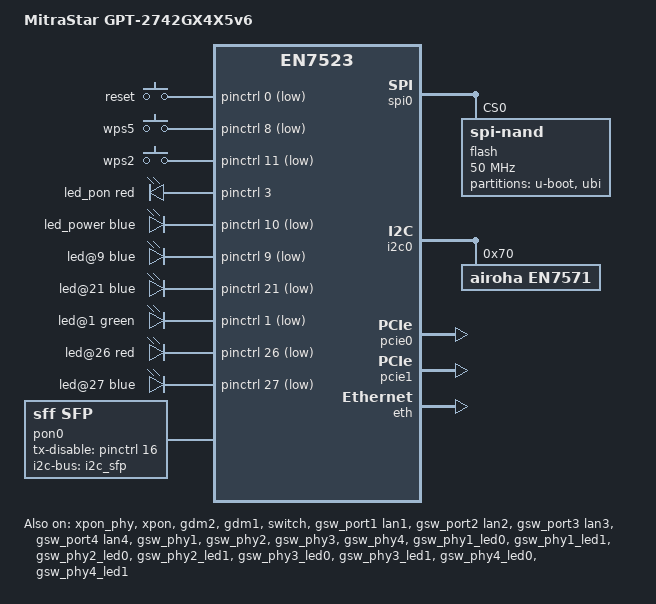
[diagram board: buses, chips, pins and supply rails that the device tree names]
/* SPDX-License-Identifier: GPL-2.0-or-later OR MIT */
/dts-v1/;

#include <dt-bindings/leds/common.h>
#include <dt-bindings/gpio/gpio.h>
#include <dt-bindings/input/input.h>
#include "en7523.dtsi"

/ {
	model = "MitraStar GPT-2742GX4X5v6";
	compatible = "mitrastar,gpt-2742gx4x5v6", "airoha,en7523";

	chosen {
		rootdisk = <&firmware>;
		bootargs = "console=ttyS0,115200 earlycon ubi.block=0,fit root=/dev/fit0 rootwait";
		stdout-path = "serial0:115200n8";
	};

	aliases {
		serial0 = &uart1;
		led-boot = &led_power;
		led-failsafe = &led_pon;
		led-upgrade = &led_pon;
		led-running = &led_power;
	};

	keys {
		compatible = "gpio-keys";

		reset {
			label = "reset";
			linux,code = <KEY_RESTART>;
			gpios = <&pinctrl 0 GPIO_ACTIVE_LOW>;
			debounce-interval = <60>;
		};

		wps5 {
			label = "wps5";
			linux,code = <KEY_WPS_BUTTON>;
			gpios = <&pinctrl 8 GPIO_ACTIVE_LOW>;
			debounce-interval = <60>;
		};

		wps2 {
			label = "wps2";
			linux,code = <KEY_WPS_BUTTON>;
			gpios = <&pinctrl 11 GPIO_ACTIVE_LOW>;
			debounce-interval = <60>;
		};
	};

	leds {
		compatible = "gpio-leds";

		// red:internet
		led_pon: led@3 {
			function = LED_FUNCTION_WAN_ONLINE;
			function-enumerator = <3>;
			color = <LED_COLOR_ID_RED>;
			gpios = <&pinctrl 3 GPIO_ACTIVE_HIGH>;
		};

		// blue:internet
		led_power: led@10 {
			function = LED_FUNCTION_WAN_ONLINE;
			function-enumerator = <10>;
			color = <LED_COLOR_ID_BLUE>;
			gpios = <&pinctrl 10 GPIO_ACTIVE_LOW>;
		};

		// blue:wlan-2g
		led@9 {
			function = LED_FUNCTION_WLAN_2GHZ;
			function-enumerator = <9>;
			color = <LED_COLOR_ID_BLUE>;
			gpios = <&pinctrl 9 GPIO_ACTIVE_LOW>;
		};

		// blue:wlan-5g
		led@21 {
			function = LED_FUNCTION_WLAN_5GHZ;
			function-enumerator = <21>;
			color = <LED_COLOR_ID_BLUE>;
			gpios = <&pinctrl 21 GPIO_ACTIVE_LOW>;
		};

		// green:fxs
		led@1 {
			function = LED_FUNCTION_ACTIVITY;
			function-enumerator = <1>;
			color = <LED_COLOR_ID_GREEN>;
			gpios = <&pinctrl 1 GPIO_ACTIVE_LOW>;
		};

		// red:fxs
		led@26 {
			function = LED_FUNCTION_ACTIVITY;
			function-enumerator = <26>;
			color = <LED_COLOR_ID_RED>;
			gpios = <&pinctrl 26 GPIO_ACTIVE_LOW>;
		};

		// blue:fxs
		led@27 {
			function = LED_FUNCTION_ACTIVITY;
			function-enumerator = <27>;
			color = <LED_COLOR_ID_BLUE>;
			gpios = <&pinctrl 27 GPIO_ACTIVE_LOW>;
		};
	};


	pon0: pon0 {
		compatible = "sff,sfp";
		i2c-bus = <&i2c_sfp>;

		tx-disable-gpios = <&pinctrl 16 GPIO_ACTIVE_HIGH>;
	};
};

/*
Old maping NAND
0x000000000000-0x000000080000 : "bootloader"
0x000000080000-0x0000000c0000 : "romfile"
0x0000000c0000-0x000005ac0000 : "tclinux"
0x000005ac0000-0x00000b4c0000 : "tclinux_slave"
0x00000b4c0000-0x00000b500000 : "second_romfile"
0x00000b500000-0x00000c200000 : "data"
0x00000c200000-0x00000eb80000 : "app"
0x00000eb80000-0x00000edc0000 : "reservearea_backup" => art (0x240000)
0x00000edc0000-0x00000f000000 : "reservearea"

New Maping:
	0x00000000-0x00100000 : BL1 + FIP (BL2 + BL31 + BL33)
	0x00100000-           : UBI (uboot env{1,2} + ART (misc part) + fit (firmware))
*/
&spi0 {
	flash@0 {
		compatible = "spi-nand";
		reg = <0>;
		spi-max-frequency = <50000000>;

		partitions {
			compatible = "fixed-partitions";
			#address-cells = <1>;
			#size-cells = <1>;

			partition@0 {
				label = "u-boot";
				reg = <0x000000 0x100000>;
				read-only;
			};

			partition@100000 {
				label = "ubi";
				compatible = "linux,ubi";
				reg = <0x100000 0x000000>;

				volumes {
					ubi-volume-ubootenv {
						volname = "ubootenv";
						nvmem-layout {
							compatible = "u-boot,env-redundant-bool";
						};
					};

					ubi-volume-ubootenv2 {
						volname = "ubootenv2";
						nvmem-layout {
							compatible = "u-boot,env-redundant-bool";

							macaddr: ethaddr {
								#nvmem-cell-cells = <1>;
							};
						};
					};

					ubi-volume-art {
						volname = "art";
						read-only;

						nvmem-layout {
							compatible = "fixed-layout";
							#address-cells = <1>;
							#size-cells = <1>;

							mt76_eeprom_2g: eeprom@0 {
								reg = <0x000000 0x1000>;
							};

							mt76_eeprom_5g: eeprom@20000 {
								reg = <0x020000 0x1000>;
							};

							en7571_bob: bob@140000 {
								reg = <0x140000 0x1000>;
							};
						};
					};

					firmware: ubi-volume-firmware {
						volname = "fit";
						compatible = "denx,uimage";
					};
				};
			};
		};
	};
};

&i2c0 {
	status = "okay";
};

&pcie0 {
	status = "okay";

	pcie@0,0 {
		reg = <0x00000000 0 0 0 0>;
		#address-cells = <3>;
		#size-cells = <2>;

		mt7915@0,0 {
			reg = <0x0000 0 0 0 0>;
			#address-cells = <1>;
			#size-cells = <0>;
			nvmem-cells = <&mt76_eeprom_2g>;
			nvmem-cell-names = "eeprom";
			airoha,npu = <&npu>;
			airoha,eth = <&eth>;

			/* 2.4Ghz */
			band@0 {
				reg = <0>;
				nvmem-cells = <&macaddr 0>;
				nvmem-cell-names = "mac-address";
			};
		};
	};
};

&pcie1 {
	status = "okay";

	pcie@1,0 {
		reg = <0x00000800 0 0 0 0>;
		#address-cells = <3>;
		#size-cells = <2>;

		/* 5Ghz */
		mt7915@0,0 {
			reg = <0x0000 0 0 0 0>;
			#address-cells = <1>;
			#size-cells = <0>;
			nvmem-cells = <&mt76_eeprom_5g>;
			nvmem-cell-names = "eeprom";
			airoha,npu = <&npu>;
			airoha,eth = <&eth>;

			band@0 {
				reg = <0>;
				nvmem-cells = <&macaddr 2>;
				nvmem-cell-names = "mac-address";
			};
		};
	};
};

&eth {
	status = "okay";
};

&i2c0 {
	status = "okay";

	en7571: lddla@70 {
		compatible = "airoha,en7571";
		reg = <0x70>;

		nvmem-cells = <&en7571_bob>;
		nvmem-cell-names = "calibration";

		i2c_sfp: i2c-sfp {
			#address-cells = <1>;
			#size-cells = <0>;
		};
	};
};

&xpon_phy {
	status = "okay";
};

&xpon {
	status = "okay";
	airoha,gpon-serial-from-mac;
	omci-vendor-id = "MSTC";

	sfp = <&pon0>;
};

&gdm2 {
	status = "okay";
	phy-mode = "internal";

	nvmem-cells = <&macaddr 0>;
	nvmem-cell-names = "mac-address";

	/delete-property/ pcs-handle;
	/delete-property/ phy-handle;
	/delete-property/ managed;

	airoha,xpon-managed;
	openwrt,netdev-name = "pon0";
};

&gdm1 {
	status = "okay";
	nvmem-cells = <&macaddr>;
	nvmem-cell-names = "mac-address";
};

&switch {
	/delete-property/ pinctrl-names;
	/delete-property/ pinctrl-0;

	status = "okay";
};

&gsw_port1 {
	label = "lan1";
	status = "okay";
};

&gsw_port2 {
	label = "lan2";
	status = "okay";
};

&gsw_port3 {
	label = "lan3";
	status = "okay";
};

&gsw_port4 {
	label = "lan4";
	status = "okay";
};

&gsw_port6 {
	nvmem-cells = <&macaddr>;
	nvmem-cell-names = "mac-address";
};

&gsw_phy1 {
	status = "okay";

	pinctrl-0 = <&swp1_led0 &swp1_led1>;
};

&gsw_phy2 {
	status = "okay";

	pinctrl-0 = <&swp2_led0 &swp2_led1>;
};

&gsw_phy3 {
	status = "okay";

	pinctrl-0 = <&swp3_led0 &swp3_led1>;
};

&gsw_phy4 {
	status = "okay";

	pinctrl-0 = <&swp4_led0 &swp4_led1>;
};

&gsw_phy1_led0 {
	status = "okay";
	color = <LED_COLOR_ID_GREEN>;
};

&gsw_phy1_led1 {
	status = "okay";
	color = <LED_COLOR_ID_YELLOW>;
};

&gsw_phy2_led0 {
	status = "okay";
	color = <LED_COLOR_ID_GREEN>;
};

&gsw_phy2_led1 {
	status = "okay";
	color = <LED_COLOR_ID_YELLOW>;
};

&gsw_phy3_led0 {
	status = "okay";
	color = <LED_COLOR_ID_GREEN>;
};

&gsw_phy3_led1 {
	status = "okay";
	color = <LED_COLOR_ID_YELLOW>;
};

&gsw_phy4_led0 {
	status = "okay";
	color = <LED_COLOR_ID_GREEN>;
};

&gsw_phy4_led1 {
	status = "okay";
	color = <LED_COLOR_ID_YELLOW>;
};
